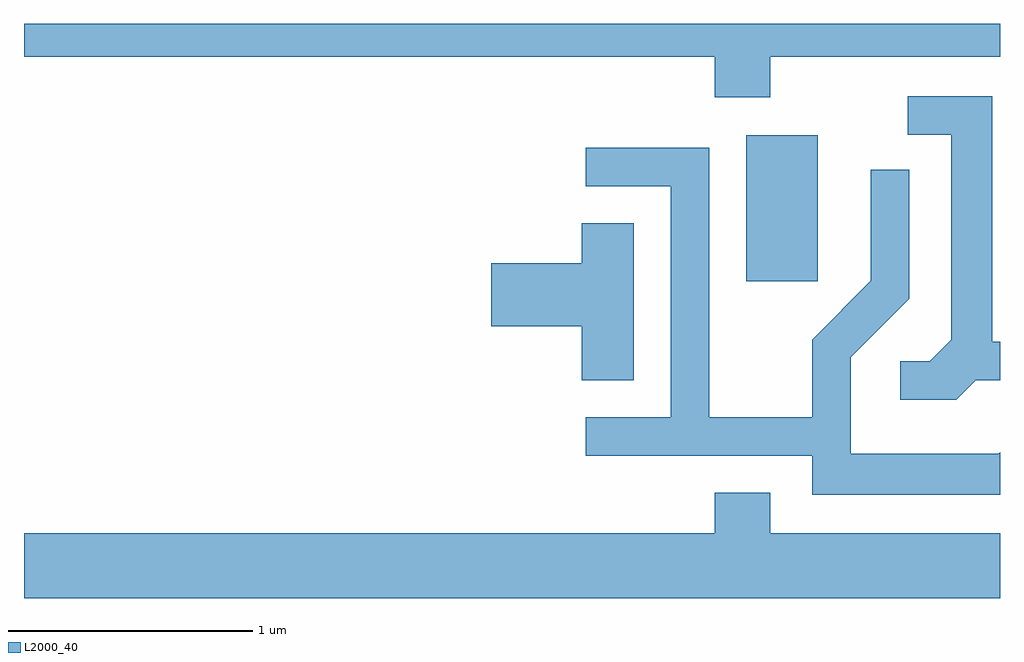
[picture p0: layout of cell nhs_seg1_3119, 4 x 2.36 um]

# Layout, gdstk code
import gdstk
lib = gdstk.Library(unit=1e-6, precision=1e-09)
def R(c, l, rs):  # rectangles x0, y0, x1, y1
    for r in rs: c.add(gdstk.rectangle(r[:2], r[2:], *l))
def P(c, l, *ps):  # polygons
    for p in ps: c.add(gdstk.Polygon(p, *l))
L2000_40 = (2000, 40)

nhs_seg1_3119 = lib.new_cell('nhs_seg1_3119')
R(nhs_seg1_3119, L2000_40, [(282.571,898.656,282.864,899.254)])
P(nhs_seg1_3119, L2000_40, [(282.669,899.576),(283.611,899.576),(283.611,899.712),(279.611,899.712),(279.611,899.576),(282.441,899.576),(282.441,899.411),(282.669,899.411)],
  [(283.512,898.251),(283.611,898.251),(283.611,898.409),(283.579,898.409),(283.579,899.414),(283.233,899.414),(283.233,899.256),(283.411,899.256),(283.411,898.417),(283.324,898.329),(283.203,898.329),(283.203,898.171),(283.432,898.171)],
  [(283.611,897.956),(283.604,897.949),(282.999,897.949),(282.999,898.344),(283.239,898.584),(283.239,899.113),(283.081,899.113),(283.081,898.657),(282.841,898.417),(282.841,898.099),(282.419,898.099),(282.419,899.204),(281.913,899.204),(281.913,899.046),(282.261,899.046),(282.261,898.099),(281.913,898.099),(281.913,897.941),(282.841,897.941),(282.841,897.781),(283.611,897.781)],
  [(282.109,898.894),(281.896,898.894),(281.896,898.729),(281.526,898.729),(281.526,898.471),(281.896,898.471),(281.896,898.251),(282.109,898.251)],
  [(283.611,897.624),(282.669,897.624),(282.669,897.789),(282.441,897.789),(282.441,897.624),(279.611,897.624),(279.611,897.356),(283.611,897.356)])

lib.write_gds('nhs_seg1_3119.gds')
